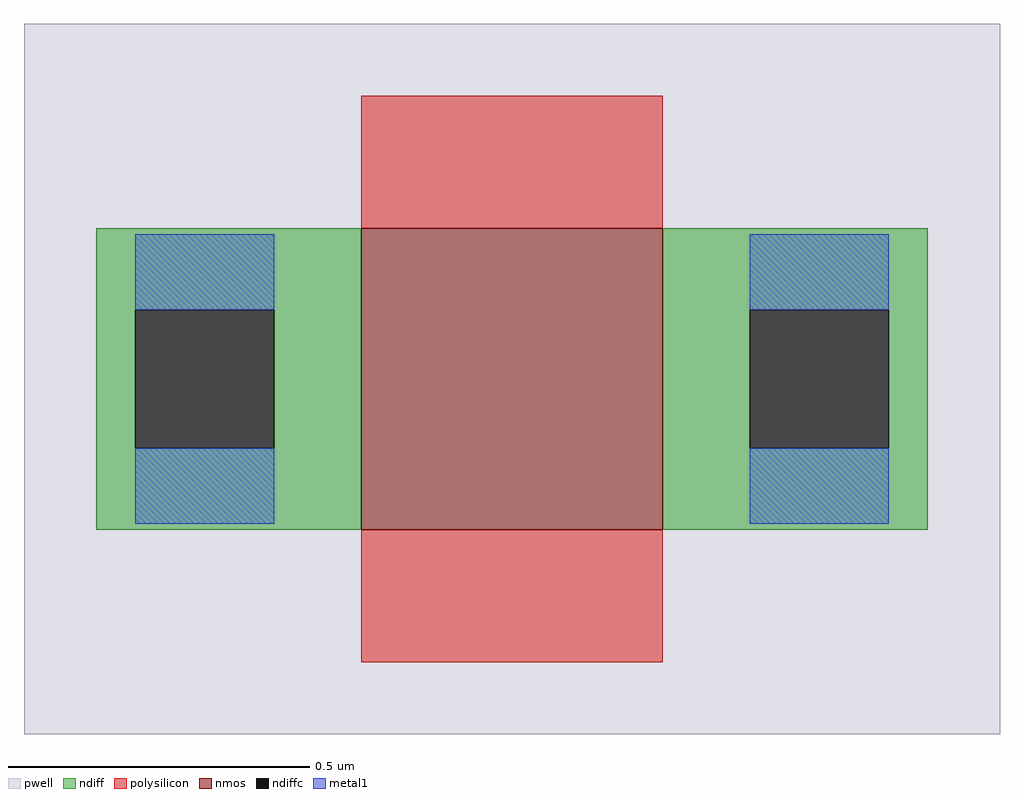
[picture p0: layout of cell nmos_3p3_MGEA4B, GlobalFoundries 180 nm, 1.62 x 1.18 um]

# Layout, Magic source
magic
tech gf180mcuD
magscale 1 10
<< pwell >>
rect -162 -118 162 118
<< nmos >>
rect -50 -50 50 50
<< ndiff >>
rect -138 23 -50 50
rect -138 -23 -125 23
rect -79 -23 -50 23
rect -138 -50 -50 -23
rect 50 23 138 50
rect 50 -23 79 23
rect 125 -23 138 23
rect 50 -50 138 -23
<< ndiffc >>
rect -125 -23 -79 23
rect 79 -23 125 23
<< polysilicon >>
rect -50 50 50 94
rect -50 -94 50 -50
<< metal1 >>
rect -125 23 -79 48
rect -125 -48 -79 -23
rect 79 23 125 48
rect 79 -48 125 -23
<< end >>
